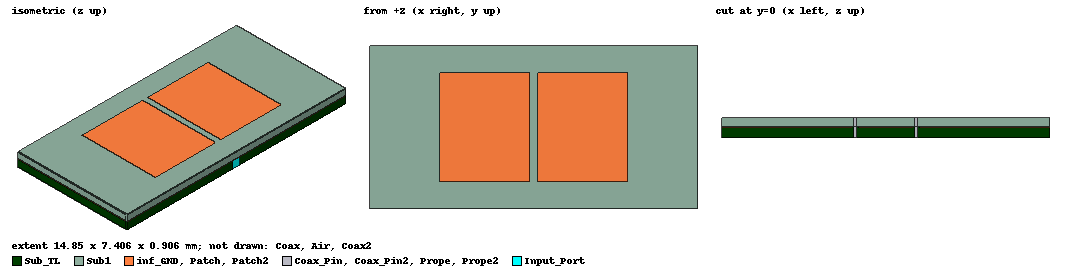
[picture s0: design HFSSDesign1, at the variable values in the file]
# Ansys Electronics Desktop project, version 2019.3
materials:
  vacuum: permittivity=1
  Rogers RT/duroid 5880 (tm): permittivity=2.2 dielectric_loss_tangent=0.0009
  pec: conductivity=1e+30
  Rogers RO4003 (tm): permittivity=3.55 dielectric_loss_tangent=0.0027

design HFSSDesign1 (HFSS, DrivenModal, model units mm)
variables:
  Lp = 4.1mm  # optimise 1.4mm..7mm
  Wp = 4.97mm  # optimise 1mm..7mm
  hs = 0.406mm
  Ws = 7.406mm
  Ls = 14.846mm
  xsub = -Ls/2
  ysub = -Ws/2
  xfeed = 1.2mm
  dp = 0.343834434mm  # optimise 0.1mm..5mm
  rcoax = 0.16mm  # optimise 0.08mm..0.24mm
  hcoax = 0.5mm  # optimise 0.1mm..2mm
  rprope = 0.07mm
  Lair = 0.01+Ls
  Wair = 0.01+Ws
  xair = Lair/2
  yair = Wair/2
  hair = 5mm
  yfeed = 0mm
  xp = dp/2
  yp = -Wp/2
  hgnd = 0.032mm
  hsubTL = hcoax
  WTLfeed = 0.45407mm  # optimise 0.1mm..2mm
  LTLfeed = 2.728412mm  # optimise 0.1mm..3.2mm
  LTL_hoz = 2.432292mm  # optimise 1.2mm..3mm
  WTL_In = 0.276146mm  # optimise 0.18mm..0.8mm
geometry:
  Sub1 [Rogers RO4003 (tm)] = box(corner=(xsub, ysub, 0mm), size=(Ls, Ws, hs))
  Patch [Rogers RT/duroid 5880 (tm)] = rectangle(corner=(xp, yp, hs), x_size=Lp, y_size=Wp)
  Coax [vacuum] = cylinder(axis=Z, base_centre=(xp+xfeed, yfeed, 0mm), radius=rcoax, height=-hcoax)
  Coax_Pin [pec] = cylinder(axis=Z, base_centre=(xp+xfeed, yfeed, 0mm), radius=rprope, height=-hcoax)
  Prope [pec] = cylinder(axis=Z, base_centre=(xp+xfeed, yfeed, 0mm), radius=rprope, height=hs)
  Air [vacuum] = box(corner=(-xair, -yair, 0), size=(Lair, Wair, hair))
  Patch2 = rectangle(corner=(xp-Lp-dp, yp, hs), x_size=Lp, y_size=Wp)
  Coax2 [vacuum] = cylinder(axis=Z, base_centre=(-(xp+xfeed), yfeed, 0mm), radius=rcoax, height=-hcoax)
  Coax_Pin2 [pec] = cylinder(axis=Z, base_centre=(-(xp+xfeed), yfeed, 0mm), radius=rprope, height=-hcoax)
  Prope2 [pec] = cylinder(axis=Z, base_centre=(-(xp+xfeed), yfeed, 0mm), radius=rprope, height=hs)
  inf_GND [pec] = box(corner=(xsub, ysub, 0mm), size=(Ls, Ws, -hgnd))
  Cylinder_cut_2 = cylinder(axis=Z, base_centre=(-(xp+xfeed), yfeed, 0), radius=rcoax, height=-hgnd)
  Cylinder_cut_1 = cylinder(axis=Z, base_centre=(xp+xfeed, yfeed, 0), radius=rcoax, height=-hgnd)
  inf_GND.subtract(Cylinder_cut_1)
  inf_GND.subtract(Cylinder_cut_2)
  Sub_TL [Rogers RO4003 (tm)] = box(corner=(xsub, ysub, 0mm), size=(Ls, Ws, -hsubTL))
  Input_Port = rectangle(corner=(-WTLfeed/2, Ws/2, -hsubTL), z_size=hsubTL-hgnd, x_size=WTLfeed)
  TL_feed_full = rectangle(corner=(-WTLfeed/2, Ws/2, -hsubTL), x_size=WTLfeed, y_size=-LTLfeed)
  TL_hoz = rectangle(corner=(LTL_hoz/2, Ws/2-LTLfeed, -hsubTL), x_size=-LTL_hoz, y_size=-WTL_In)
  TL1_Ver_Inter = rectangle(corner=(LTL_hoz/2, Ws/2-LTLfeed -WTL_In, -hsubTL), x_size=-WTL_In, y_size=-(Ws/2-LTLfeed -WTL_In)+(yfeed+WTL_In-2*rcoax-WTL_In))
  TL2_Ver_Inter = rectangle(corner=(-LTL_hoz/2, Ws/2-LTLfeed -WTL_In, -hsubTL), x_size=WTL_In, y_size=-(Ws/2-LTLfeed -WTL_In)+(yfeed+WTL_In-2*rcoax-WTL_In))
  TL2_In_Coax = rectangle(corner=(-LTL_hoz/2, yfeed+WTL_In, -hsubTL), x_size=LTL_hoz/2-(xp+xfeed+2*rcoax), y_size=-2*rcoax-WTL_In)
  TL1_in_Coax = rectangle(corner=(LTL_hoz/2, yfeed+WTL_In, -hsubTL), x_size=-LTL_hoz/2+(xp+xfeed+2*rcoax), y_size=-2*rcoax-WTL_In)
  TL_feed_full.unite(TL_hoz)
  TL_feed_full.unite(TL1_in_Coax)
  TL_feed_full.unite(TL1_Ver_Inter)
  TL_feed_full.unite(TL2_In_Coax)
  TL_feed_full.unite(TL2_Ver_Inter)
  group Input_feed1 = Coax, Coax_Pin, Prope
  group Input_feed2 = Coax2, Coax_Pin2, Prope2
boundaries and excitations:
  PerfE_Patch: Perfect E Objects=Patch
  Rad1: Radiation Faces=Air.face(+x, +y, -y, -x, +z)
  PerfE1: Perfect E Objects=Patch2
  PerfETL: Perfect E Objects=TL_feed_full
  1: Lumped Port Objects=Input_Port Modes{Mode1{IntLine{middle of Input_Port.edge(z at corner) -> middle of Input_Port.edge(z opposite corner)} CharImp=Zpi RenormImp=50ohm}} Impedance=50ohm
  reference conductors: inf_GND
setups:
  Setup1: HfssDriven Frequency=20GHz MaxDeltaS=0.02 MaximumPasses=18 MinimumPasses=1 MinimumConvergedPasses=1 PercentRefinement=30 BasisOrder=1 PortAccuracy=2
    sweep Sweep: 10GHz to 30GHz step 0.1GHz; Type=Fast SaveFields SaveRadFields GenerateFieldsForAllFreqs
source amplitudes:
  1:1: 1W 0deg
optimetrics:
  OptimizationSetup1: Optimization Optimizer="Quasi Newton" AnalysisStopOptions{StopForNumIteration MaxNumIteration=1000 MinNumIteration=10} CostFuncNormType=L2 Acceptable_Cost=0 Noise=0.0001 UpdateDesignWhenDone
    vary LTL_hoz: Min=1.2mm Max=3mm MinStep=0.02432292mm MaxStep=0.2432292mm MinFocus=1.2mm MaxFocus=3mm start=2.432292mm
    vary LTLfeed: Min=0.1mm Max=3.2mm MinStep=0.02728412mm MaxStep=0.2728412mm MinFocus=0.1mm MaxFocus=3.2mm start=2.728412mm
    vary Lp: Min=1.4mm Max=7mm MinStep=0.0368mm MaxStep=0.368mm MinFocus=1.4mm MaxFocus=7mm start=4.1mm
    vary WTL_In: Min=0.18mm Max=0.8mm MinStep=0.0018mm MaxStep=0.018mm MinFocus=0.18mm MaxFocus=0.8mm start=0.276146mm
    vary WTLfeed: Min=0.1mm Max=2mm MinStep=0.02mm MaxStep=0.2mm MinFocus=0.1mm MaxFocus=2mm start=0.45407mm
    vary Wp: Min=1mm Max=7mm MinStep=0.0473mm MaxStep=0.473mm MinFocus=1mm MaxFocus=7mm start=4.97mm
    vary dp: Min=0.1mm Max=5mm MinStep=0.0034383443mm MaxStep=0.034383443mm MinFocus=0.1mm MaxFocus=5mm start=0.343834434mm
    vary hcoax: Min=0.1mm Max=2mm MinStep=0.005mm MaxStep=0.05mm MinFocus=0.1mm MaxFocus=2mm start=0.5mm
    vary rcoax: Min=0.08mm Max=0.24mm MinStep=0.0016mm MaxStep=0.016mm MinFocus=0.08mm MaxFocus=0.24mm start=0.16mm
    goal dB(S(1,1)) <= -15 weight 1 on Setup1 : Sweep at Freq 20GHz
    goal dB(S(1,1)) >= -15 weight 1 on Setup1 : Sweep at Freq 19GHz
    goal dB(S(1,1)) >= -15 weight 1 on Setup1 : Sweep at Freq 21GHz
    goal mag(Z(1,1)) >= 27 weight 1 on Setup1 : Sweep at Freq 20GHz
    goal mag(Z(1,1)) <= 45 weight 1 on Setup1 : Sweep at Freq 20GHz
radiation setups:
  e_plane: Infinite Sphere Theta=-180deg..180deg step 2deg Phi=0deg..0deg step 1deg
  h_plane: Infinite Sphere Theta=-180deg..180deg step 2deg Phi=90deg..90deg step 1deg
  3d: Infinite Sphere Theta=-180deg..180deg step 2deg Phi=0deg..360deg step 2deg
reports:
  Eradation_pattern: abs(rETotal) vs Theta on Setup1 : LastAdaptive, e_plane [Phi=all Freq=20GHz]
  Hradation_pattern: abs(rETotal) vs Theta on Setup1 : LastAdaptive, h_plane [Phi=all Freq=20GHz]
  Co_X_graph: dB10normalize(GainPhi), dB10normalize(GainTheta) vs Theta on Setup1 : LastAdaptive, e_plane [Phi=0deg Freq=20GHz]
  Gain Plot 1: GainTotal vs Theta on Setup1 : LastAdaptive, e_plane [Phi=all Freq=20GHz]
  Z Parameter Plot 1: mag(Z(1,1)) vs Freq on Setup1 : Sweep; markers MX1 at x=2.0006696e+10
  S Parameter Plot 3: dB(S(1,1)) vs Freq on Setup1 : Sweep [Lp=all Wp=all]
  Z Parameter Plot 2: mag(Z(1,1)) vs Freq on Setup1 : Sweep [Lp=all Wp=all]; markers MX1 at x=2.0005574e+10
  Port Zo Plot 1: mag(Zo(1)) vs Freq on Setup1 : Sweep [Lp=all Wp=all]; markers MX1 at x=1.9996656e+10
  VSWR Plot 1: VSWR(1) vs Freq on Setup1 : Sweep [Lp=all Wp=all]; markers m1 at 20GHz
  Gain Plot 1_1: GainTotal vs Theta
  S Parameter Plot 4: dB(S(1,1)) vs Freq on Setup1 : Sweep [Wp=all]
  S Parameter Plot 5: dB(S(1,1)) vs Freq on Setup1 : Sweep [Lp=all Wp=all]
  S Parameter Plot 6: dB(S(1,1)) vs Freq on Setup1 : Sweep
  S Parameter Plot 7: dB(S(1,1)) vs Freq on Setup1 : Sweep
  S Parameter Plot 8: dB(S(1,1)) vs Freq on Setup1 : Sweep
  Gain Plot 2: GainTotal vs Phi, Theta on Setup1 : LastAdaptive, e_plane [Freq=20GHz]
  Gain Plot 3: GainTotal vs Phi, Theta on Setup1 : LastAdaptive, 3d [Freq=20GHz]
  S Parameter Plot 9: dB(S(1,1)) vs Freq on Setup1 : Sweep
  rE Plot 1: dB(rETotal) vs Phi, Theta on Setup1 : LastAdaptive, 3d [Freq=20GHz]
  Gain Plot 4: GainTotal vs Phi, Theta on Setup1 : LastAdaptive, e_plane [Freq=20GHz]
  Gain Plot 5: dB(GainTotal) vs Phi, Theta on Setup1 : LastAdaptive, e_plane [Freq=20GHz]
  Directivity Plot 1: mag(DirTotal) vs Phi, Theta on Setup1 : LastAdaptive, e_plane [Freq=20GHz]
  rE Plot 2: dB(rETotal) vs Phi, Theta on Setup1 : LastAdaptive, e_plane [Freq=20GHz]
  rE Plot 3: dB(rETotal) vs Phi, Theta on Setup1 : LastAdaptive, 3d [Freq=20GHz]
